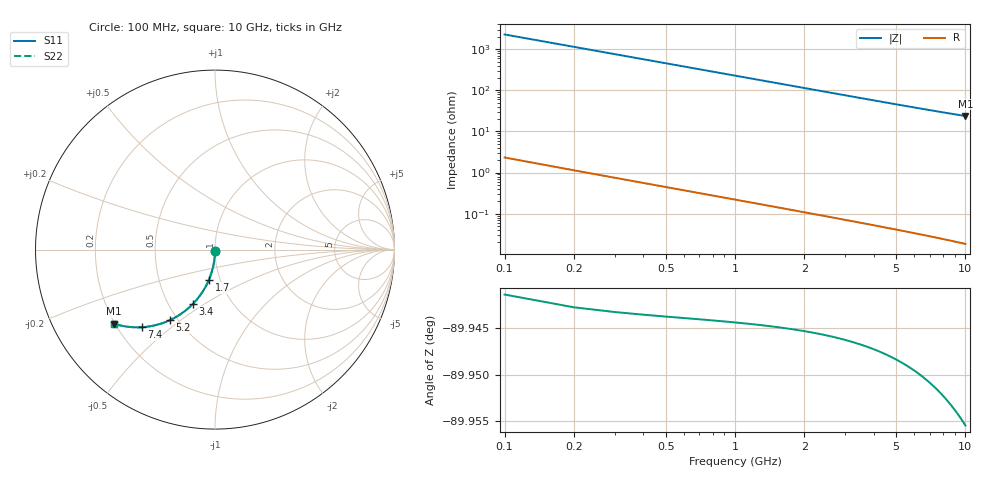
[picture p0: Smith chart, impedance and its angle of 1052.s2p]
# Hz S RI R 50.00
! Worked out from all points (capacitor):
!   100 points, 100 MHz to 10 GHz, reference 50 ohm
!   read as one part in shunt: C = 700 fF near 100 MHz
!   lowest |Z| = 23.7 ohm at 10 GHz (marker M1)
!   S11 on the Smith chart (normalised r, x): 100 MHz: 1.00, -0.02; 1.7 GHz: 0.88, -0.31; 3.4 GHz: 0.66, -0.45; 5.2 GHz: 0.45, -0.46; 7.4 GHz: 0.30, -0.40; 10 GHz: 0.20, -0.32
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1e8  2.9e-05 -0.0102  0.9997 -0.0118  0.9997 -0.0118  2.9e-05 -0.0102
2e8  -0.000342 -0.0204  0.9993 -0.0235  0.9993 -0.0235  -0.000342 -0.0204
3e8  -0.000953 -0.0306  0.9987 -0.0353  0.9987 -0.0353  -0.000953 -0.0306
4e8  -0.0018 -0.0408  0.9979 -0.047  0.9979 -0.047  -0.0018 -0.0408
5e8  -0.00289 -0.0509  0.9967 -0.0587  0.9967 -0.0587  -0.00289 -0.0509
6e8  -0.00422 -0.0611  0.9954 -0.0704  0.9954 -0.0704  -0.00422 -0.0611
8e8  -0.00758 -0.0811  0.992 -0.0936  0.992 -0.0936  -0.00758 -0.0811
1.1e9  -0.0143 -0.1108  0.9852 -0.128  0.9852 -0.128  -0.0143 -0.1108
1.4e9  -0.0231 -0.1398  0.9763 -0.1616  0.9763 -0.1616  -0.0231 -0.1398
1.7e9  -0.0338 -0.1678  0.9655 -0.1944  0.9655 -0.1944  -0.0338 -0.1678
1.8e9  -0.0378 -0.177  0.9615 -0.2051  0.9615 -0.2051  -0.0378 -0.177
2.1e9  -0.0508 -0.2036  0.9483 -0.2364  0.9483 -0.2364  -0.0508 -0.2036
2.5e9  -0.0707 -0.2372  0.9282 -0.2763  0.9282 -0.2763  -0.0707 -0.2372
2.9e9  -0.0931 -0.2683  0.9055 -0.3138  0.9055 -0.3138  -0.0931 -0.2683
3.4e9  -0.124 -0.3034  0.8742 -0.3568  0.8742 -0.3568  -0.124 -0.3034
4.2e9  -0.1786 -0.3504  0.8189 -0.4166  0.8189 -0.4166  -0.1786 -0.3504
5.1e9  -0.244 -0.3897  0.7523 -0.4705  0.7523 -0.4705  -0.244 -0.3897
5.2e9  -0.2514 -0.3932  0.7448 -0.4756  0.7448 -0.4756  -0.2514 -0.3932
6.7e9  -0.361 -0.4271  0.6329 -0.5342  0.6329 -0.5342  -0.361 -0.4271
7.4e9  -0.4095 -0.4324  0.5831 -0.5513  0.5831 -0.5513  -0.4095 -0.4324
8.4e9  -0.4741 -0.4311  0.5162 -0.567  0.5162 -0.567  -0.4741 -0.4311
1e10  -0.5643 -0.4124  0.4217 -0.5763  0.4217 -0.5763  -0.5643 -0.4124
